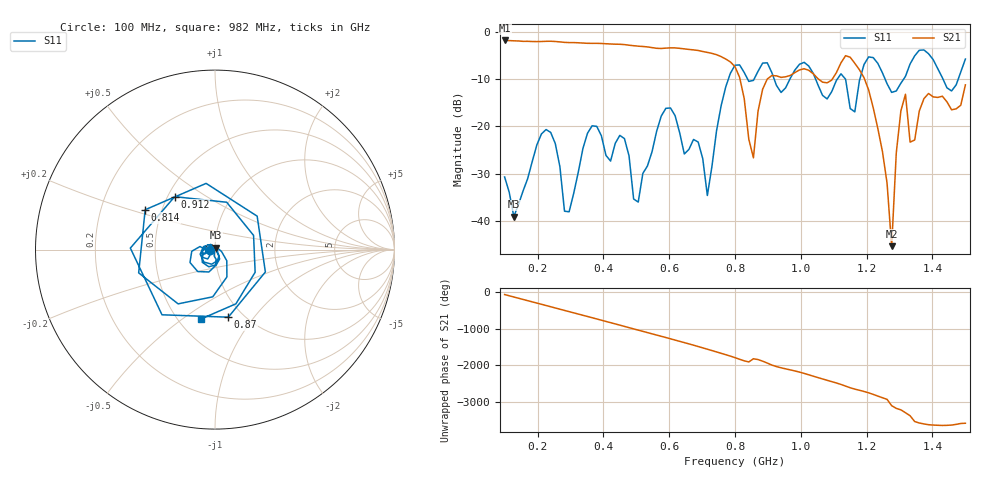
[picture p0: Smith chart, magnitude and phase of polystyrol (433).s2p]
! NanoVNA-App
! Date: 2025-09-25 15:33:15
! Start: 100MHz Stop: 1,5GHz Points: 101
! S-Parameter data: F S11 S21 S12 S22
# Hz S RI R 50
!  Frequency  S11_Real  S11_Imag  S21_Real  S21_Imag  S12_Real  S12_Imag  S22_Real  S22_Imag
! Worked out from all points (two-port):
!   101 points, 100 MHz to 1.5 GHz, reference 50 ohm
!   highest |S21| = -1.80 dB at 100 MHz (marker M1); lowest = -45.3 dB at 1.276 GHz (marker M2)
!   |S21| within 3 dB of the highest: start of sweep to 743.2 MHz
!   lowest |S11| = -39.1 dB at 128 MHz (marker M3), VSWR 1.02, Z = 50.3 + j1.06 ohm
!   |S11| at or under -10 dB: start of sweep to 779.8 MHz; 1.045 GHz to 1.111 GHz (65.55 MHz wide, 6.08 % of centre); 1.136 GHz to 1.179 GHz (43.34 MHz wide, 3.74 % of centre) (the widest 3 of 7)
!   S12 and S22 are empty: the file has one direction only
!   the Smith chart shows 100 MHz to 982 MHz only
!   S11 on the Smith chart (normalised r, x): 100 MHz: 0.94, -0.01; 814 MHz: 0.40, +0.22; 870 MHz: 0.85, -0.75; 912 MHz: 0.54, +0.37; 982 MHz: 0.64, -0.59
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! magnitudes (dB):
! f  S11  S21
! 100 MHz  -30.7  -1.8
! 128 MHz  -39.1  -1.9
! 212 MHz  -21.6  -2.0
! 282 MHz  -37.9  -2.2
! 338 MHz  -24.7  -2.3
! 464 MHz  -22.6  -2.7
! 506 MHz  -36.0  -3.0
! 576 MHz  -17.8  -3.5
! 716 MHz  -34.6  -4.3
! 800 MHz  -7.0  -7.4
! 814 MHz  -7.0  -9.6
! 856 MHz  -10.3  -26.6
! 870 MHz  -8.3  -16.8
! 912 MHz  -8.6  -9.2
! 982 MHz  -8.1  -8.6
! 1.038 GHz  -8.8  -8.9
! 1.164 GHz  -16.9  -6.6
! 1.192 GHz  -6.9  -9.7
! 1.276 GHz  -12.8  -45.3
! 1.318 GHz  -9.4  -13.2
! 1.332 GHz  -6.8  -23.3
! 1.5 GHz  -5.7  -11.2
